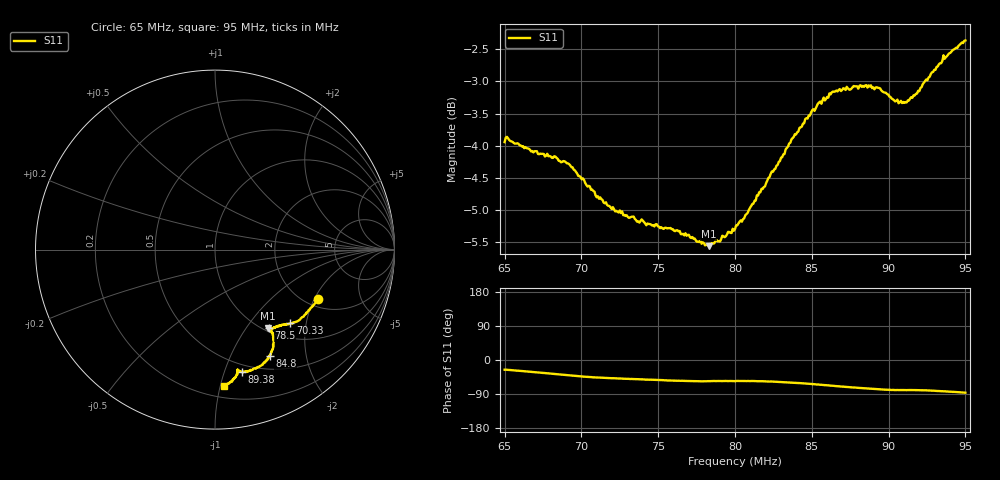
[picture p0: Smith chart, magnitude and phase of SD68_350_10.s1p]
! NanoVNA-App
! Date: 2025-08-09 12:56:01
! Start: 65MHz Stop: 95MHz Points: 401
! S-Parameter data: F S11
# Hz S RI R 50
!  Frequency  S11_Real  S11_Imag
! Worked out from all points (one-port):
!   401 points, 65 MHz to 95 MHz, reference 50 ohm
!   lowest |S11| = -5.6 dB at 78.28 MHz (marker M1), VSWR 3.23, Z = 52.5 - j63.5 ohm
!   |S11| at or under -10 dB: nowhere
!   S11 on the Smith chart (normalised r, x): 65 MHz: 2.30, -2.13; 70.33 MHz: 1.30, -1.63; 78.5 MHz: 1.05, -1.28; 84.8 MHz: 0.67, -1.42; 89.38 MHz: 0.43, -1.15; 95 MHz: 0.28, -1.03
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6.5e7  0.5721 -0.2754
6.5225e7  0.5747 -0.28
6.785e7  0.5059 -0.3568
6.875e7  0.4771 -0.3846
6.9275e7  0.4597 -0.3992
7.0325e7  0.4203 -0.4111
7.16e7  0.3867 -0.4187
7.25e7  0.3694 -0.423
7.625e7  0.3124 -0.4429
7.775e7  0.2961 -0.4419
7.8275e7  0.2948 -0.4365
7.85e7  0.2992 -0.437
8e7  0.3054 -0.4492
8.0675e7  0.3159 -0.4586
8.18e7  0.3265 -0.4838
8.2775e7  0.3267 -0.5143
8.375e7  0.32 -0.5536
8.48e7  0.3042 -0.5924
8.63e7  0.2626 -0.6427
8.75e7  0.2149 -0.6637
8.84e7  0.1847 -0.6764
8.9375e7  0.1519 -0.6831
9.0275e7  0.1315 -0.6729
9.125e7  0.1263 -0.6725
9.185e7  0.1263 -0.6811
9.2825e7  0.1136 -0.7108
9.3725e7  0.0907 -0.7339
9.5e7  0.0487 -0.7605
